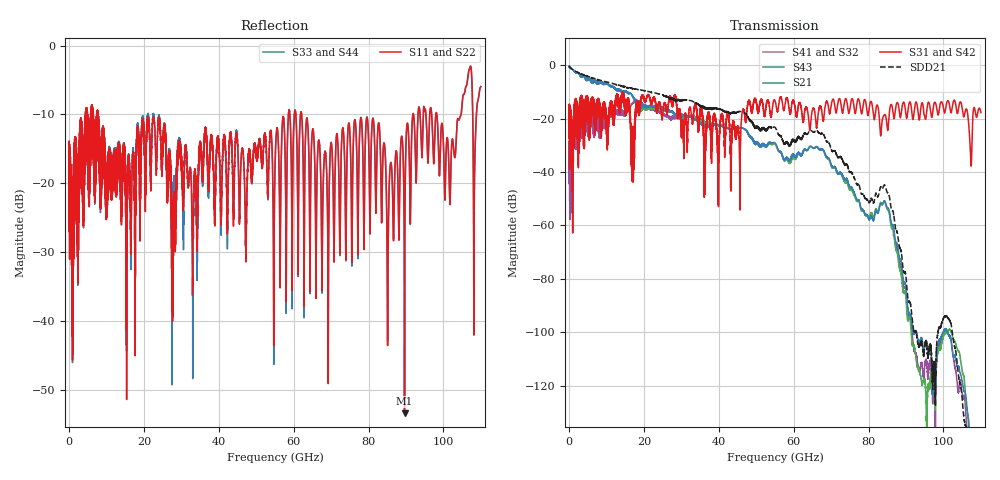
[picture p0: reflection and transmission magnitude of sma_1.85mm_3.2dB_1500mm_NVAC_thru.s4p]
!4 port subset of full cascaded channels using these ports:3 1 4 2
# Hz S RI R 50
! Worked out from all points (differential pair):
!   11000 points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, 10 MHz to 110 GHz, reference 50 ohm
!   strongest paths, dB at 10 MHz, 27.51 GHz, 55.01 GHz, 82.51 GHz, 110 GHz:
!     S31: -21.7, -14.7, -13.2, -15.6, -17.7
!     S42: -21.7, -14.7, -13.2, -15.6, -17.7
!     S21: -0.4, -17.3, -29.1, -55.5, -
!     S43: -0.4, -17.4, -29.6, -55.0, -
!     S41: -34.5, -19.5, -29.3, -55.3, -
!     S32: -34.5, -19.6, -29.3, -55.3, -
!   taken as a pair (ports 1,3 in; 2,4 out), SDD21 dB: -0.2, -12.5, -23.3, -49.3, -
!   lowest |S11| = -53.4 dB at 89.6 GHz (marker M1), VSWR 1.00, Z = 50.2 + j0.0349 ohm
!   |S11| at or under -10 dB: 7.783 GHz to 58.61 GHz (50.83 GHz wide, 153 % of centre); 62.1 GHz to 91.83 GHz (29.72 GHz wide, 38.6 % of centre); 98.23 GHz to 104.7 GHz (6.488 GHz wide, 6.39 % of centre) (the widest 3 of 34)
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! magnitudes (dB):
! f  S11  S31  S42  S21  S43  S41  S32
! 10 MHz  -19.9  -21.7  -21.7  -0.4  -0.4  -34.5  -34.5
! 17.74 GHz  -22.0  -16.2  -16.2  -13.6  -14.1  -13.2  -13.2
! 66.2 GHz  -19.8  -22.8  -22.8  -30.6  -30.7  -30.6  -30.6
! 84.63 GHz  -18.4  -19.4  -19.4  -52.0  -52.4  -52.3  -52.3
! 89.6 GHz  -53.4  -14.5  -14.5  -81.7  -85.1  -83.3  -83.3
! 107.2 GHz  -3.0  -33.5  -33.5  -145.4  -151.0  -155.0  -155.0
! 110 GHz  -6.0  -17.7  -17.7  -  -  -  -
